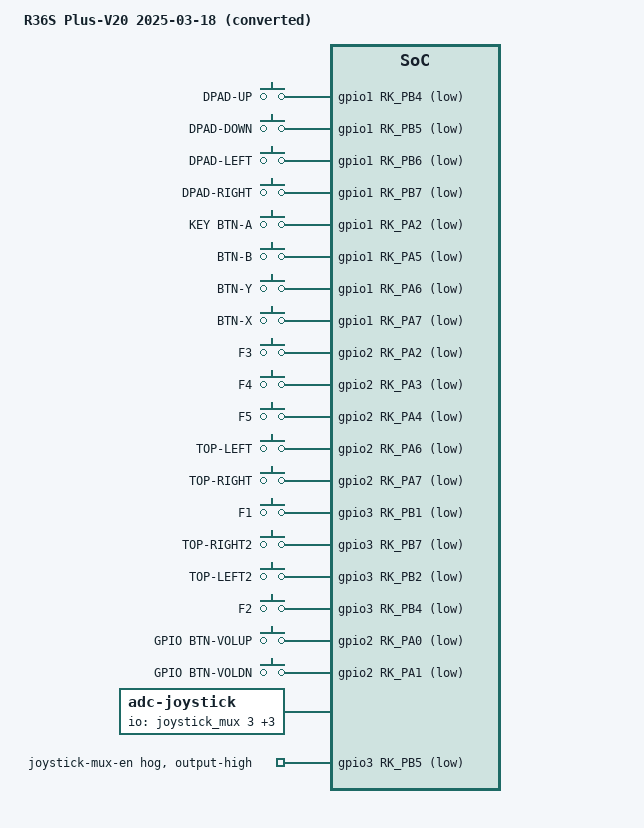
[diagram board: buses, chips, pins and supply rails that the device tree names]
// SPDX-License-Identifier: (GPL-2.0+ OR MIT)
/*
 * R36S Plus-V20 2025-03-18, converted from a vendor RK3326 device tree by
 * `r36os dtb import` (boot-dtb-select D12). Do not edit: import again.
 * Source: darkosre/files/BOOT/dtb/r36s/R36S Plus-V20 2025-03-18/rk3326-r36s-linux.dtb
 * SHA-256: a8b4093dd87639d311e73d97cac5bc08d63cc70f6ac6c0f50e6c08058ad8ddb6
 * Note: sticks: axes from the ROCKNIX joypad mapping, not measured
 * Note: speaker gain: source spk-volume 3 ignored, the native safe value is used
 */

#include "rk3326-r36s-v5.dts"

/ {
	model = "R36S Plus-V20 2025-03-18 (converted)";

	lume-select {
		lume,id = "darkosre-r36s-r36s-plus-v20-2025-03-18";
		lume,priority = <0>;
		/delete-property/ lume,default;
		/delete-property/ lume,panel-id;
	};

	/delete-node/ gpio-keys;
	/delete-node/ volume-keys;

	gpio-keys {
		compatible = "gpio-keys";
		pinctrl-names = "default";
		pinctrl-0 = <&btn_pins>;

		button-dpad-up {
			gpios = <&gpio1 RK_PB4 GPIO_ACTIVE_LOW>;
			label = "DPAD-UP";
			linux,code = <0x220>;
		};

		button-dpad-down {
			gpios = <&gpio1 RK_PB5 GPIO_ACTIVE_LOW>;
			label = "DPAD-DOWN";
			linux,code = <0x221>;
		};

		button-dpad-left {
			gpios = <&gpio1 RK_PB6 GPIO_ACTIVE_LOW>;
			label = "DPAD-LEFT";
			linux,code = <0x222>;
		};

		button-dpad-right {
			gpios = <&gpio1 RK_PB7 GPIO_ACTIVE_LOW>;
			label = "DPAD-RIGHT";
			linux,code = <0x223>;
		};

		button-key-btn-a {
			gpios = <&gpio1 RK_PA2 GPIO_ACTIVE_LOW>;
			label = "KEY BTN-A";
			linux,code = <0x131>;
		};

		button-btn-b {
			gpios = <&gpio1 RK_PA5 GPIO_ACTIVE_LOW>;
			label = "BTN-B";
			linux,code = <0x130>;
		};

		button-btn-y {
			gpios = <&gpio1 RK_PA6 GPIO_ACTIVE_LOW>;
			label = "BTN-Y";
			linux,code = <0x134>;
		};

		button-btn-x {
			gpios = <&gpio1 RK_PA7 GPIO_ACTIVE_LOW>;
			label = "BTN-X";
			linux,code = <0x133>;
		};

		button-f3 {
			gpios = <&gpio2 RK_PA2 GPIO_ACTIVE_LOW>;
			label = "F3";
			linux,code = <0x2c2>;
		};

		button-f4 {
			gpios = <&gpio2 RK_PA3 GPIO_ACTIVE_LOW>;
			label = "F4";
			linux,code = <0x2c3>;
		};

		button-f5 {
			gpios = <&gpio2 RK_PA4 GPIO_ACTIVE_LOW>;
			label = "F5";
			linux,code = <0x2c4>;
		};

		button-top-left {
			gpios = <&gpio2 RK_PA6 GPIO_ACTIVE_LOW>;
			label = "TOP-LEFT";
			linux,code = <0x136>;
		};

		button-top-right {
			gpios = <&gpio2 RK_PA7 GPIO_ACTIVE_LOW>;
			label = "TOP-RIGHT";
			linux,code = <0x137>;
		};

		button-f1 {
			gpios = <&gpio3 RK_PB1 GPIO_ACTIVE_LOW>;
			label = "F1";
			linux,code = <0x2c0>;
		};

		button-top-right2 {
			gpios = <&gpio3 RK_PB7 GPIO_ACTIVE_LOW>;
			label = "TOP-RIGHT2";
			linux,code = <0x139>;
		};

		button-top-left2 {
			gpios = <&gpio3 RK_PB2 GPIO_ACTIVE_LOW>;
			label = "TOP-LEFT2";
			linux,code = <0x138>;
		};

		button-f2 {
			gpios = <&gpio3 RK_PB4 GPIO_ACTIVE_LOW>;
			label = "F2";
			linux,code = <0x2c1>;
		};
	};

	volume-keys {
		compatible = "gpio-keys";
		pinctrl-names = "default";
		pinctrl-0 = <&vol_pins>;
		autorepeat;

		button-gpio-btn-volup {
			gpios = <&gpio2 RK_PA0 GPIO_ACTIVE_LOW>;
			label = "GPIO BTN-VOLUP";
			linux,code = <0x73>;
		};

		button-gpio-btn-voldn {
			gpios = <&gpio2 RK_PA1 GPIO_ACTIVE_LOW>;
			label = "GPIO BTN-VOLDN";
			linux,code = <0x72>;
		};
	};

	/delete-node/ adc-joystick;

	adc-joystick {
		compatible = "adc-joystick";
		io-channels = <&joystick_mux 3>,
			      <&joystick_mux 1>,
			      <&joystick_mux 2>,
			      <&joystick_mux 0>;
		poll-interval = <10>;
		#address-cells = <1>;
		#size-cells = <0>;

		axis@0 {
			reg = <0>;
			abs-flat = <32>;
			abs-fuzz = <32>;
			abs-range = <0 1023>;
			linux,code = <ABS_RY>;
		};

		axis@1 {
			reg = <1>;
			abs-flat = <32>;
			abs-fuzz = <32>;
			abs-range = <0 1023>;
			linux,code = <ABS_RX>;
		};

		axis@2 {
			reg = <2>;
			abs-flat = <32>;
			abs-fuzz = <32>;
			abs-range = <1023 0>;
			linux,code = <ABS_Y>;
		};

		axis@3 {
			reg = <3>;
			abs-flat = <32>;
			abs-fuzz = <32>;
			abs-range = <1023 0>;
			linux,code = <ABS_X>;
		};
	};

	mux-controller {
		mux-gpios = <&gpio3 RK_PB3 GPIO_ACTIVE_LOW>,
			    <&gpio3 RK_PB0 GPIO_ACTIVE_LOW>;
	};

	adc-mux {
		io-channels = <&saradc 1>;
	};

	/delete-node/ gpio-leds;

	rk817-sound {
		simple-audio-card,hp-det-gpios = <&gpio2 RK_PC6 GPIO_ACTIVE_LOW>;
	};
};

&internal_display {
	compatible = "rocknix,generic-dsi";
	/delete-property/ vcc-supply;
	vdd-supply = <&vcc_lcd>;
	reset-gpios = <&gpio3 RK_PC0 GPIO_ACTIVE_LOW>;
	panel_description =
		"G size=153,85 delays=20,20,20,120,20 format=rgb888 lanes=4 flags=0xe03",
		"M clock=36500 horizontal=720,45,4,45 vertical=720,15,3,11 default=1",
		"I seq=11 wait=fa",
		"I seq=b9f11283",
		"I seq=ba338105f90e0e2000000000000000442500900a0000014f01000037",
		"I seq=b82522f063",
		"I seq=bf021100",
		"I seq=b31010282803ff00000000",
		"I seq=c0737350500000127000",
		"I seq=bc46",
		"I seq=cc0b",
		"I seq=b480",
		"I seq=b23c1230",
		"I seq=e307070b0b030b00000000ff00c010",
		"I seq=c13600323277f1cccc77773333",
		"I seq=b50a0a",
		"I seq=b68888",
		"I seq=e9c8100a100fa1801231234786a180470800000d00000000000d00000048028baf4602888888888848138baf5713888888888800000000000000000000000000",
		"I seq=ea9612010101780200000000004f318ba8317588888888884f208ba820648888888888230000010200000000000000000000000000000040a18000000000",
		"I seq=e0000a0f293b3f4239060d10131514151017000a0f293b3f4239060d10131514151017",
		"I seq=29 wait=32";
};

&dsi {
	rockchip,lane-rate = <243>;
};

&backlight {
	pwms = <&pwm1 0 40000 0>;
	/delete-property/ num-interpolated-steps;
	brightness-levels = <0 1 2 3 4 5 6 7 8 9 10 11 12 13 14 15 16 17 18 19 20 21 22 23 24 25 26 27 28 29 30 31 32 33 34 35 36 37 38 39 40 41 42 43 44 45 46 47 48 49 50 51 52 53 54 55 56 57 58 59 60 61 62 63 64 65 66 67 68 69 70 71 72 73 74 75 76 77 78 79 80 81 82 83 84 85 86 87 88 89 90 91 92 93 94 95 96 97 98 99 100 101 102 103 104 105 106 107 108 109 110 111 112 113 114 115 116 117 118 119 120 121 122 123 124 125 126 127 128 129 130 131 132 133 134 135 136 137 138 139 140 141 142 143 144 145 146 147 148 149 150 151 152 153 154 155 156 157 158 159 160>;
	default-brightness-level = <80>;
};

&battery {
	charge-full-design-microamp-hours = <3380000>;
	voltage-max-design-microvolt = <4000000>;
	voltage-min-design-microvolt = <3165000>;
	ocv-capacity-table-0 = <4000000 100>,
				<3995000 95>,
				<3990000 90>,
				<3950000 85>,
				<3910000 80>,
				<3870000 75>,
				<3830000 70>,
				<3790000 65>,
				<3750000 60>,
				<3710000 55>,
				<3670000 50>,
				<3630000 45>,
				<3580000 40>,
				<3530000 35>,
				<3480000 30>,
				<3430000 25>,
				<3380000 20>,
				<3330000 15>,
				<3280000 10>,
				<3220000 5>,
				<3165000 0>;
};

&spk_amp {
	/delete-property/ enable-gpios;
	/delete-property/ pinctrl-names;
	/delete-property/ pinctrl-0;
};

&rk817 {
	interrupt-parent = <&gpio0>;
	interrupts = <RK_PB2 IRQ_TYPE_LEVEL_LOW>;
};

&gpio0 {
	/delete-node/ joystick-mux-en-hog;
};

&gpio1 {
	/delete-node/ lcd-enable-hog;
};

&gpio3 {
	/delete-node/ lcd-stbyb-hog;
	joystick-mux-en-hog {
		gpio-hog;
		gpios = <RK_PB5 GPIO_ACTIVE_LOW>;
		output-high;
		line-name = "joystick-mux-en";
	};
};

&btn_pins {
	rockchip,pins =
		<1 RK_PB4 RK_FUNC_GPIO &pcfg_pull_up>,
		<1 RK_PB5 RK_FUNC_GPIO &pcfg_pull_up>,
		<1 RK_PB6 RK_FUNC_GPIO &pcfg_pull_up>,
		<1 RK_PB7 RK_FUNC_GPIO &pcfg_pull_up>,
		<1 RK_PA2 RK_FUNC_GPIO &pcfg_pull_up>,
		<1 RK_PA5 RK_FUNC_GPIO &pcfg_pull_up>,
		<1 RK_PA6 RK_FUNC_GPIO &pcfg_pull_up>,
		<1 RK_PA7 RK_FUNC_GPIO &pcfg_pull_up>,
		<2 RK_PA2 RK_FUNC_GPIO &pcfg_pull_up>,
		<2 RK_PA3 RK_FUNC_GPIO &pcfg_pull_up>,
		<2 RK_PA4 RK_FUNC_GPIO &pcfg_pull_up>,
		<2 RK_PA6 RK_FUNC_GPIO &pcfg_pull_up>,
		<2 RK_PA7 RK_FUNC_GPIO &pcfg_pull_up>,
		<3 RK_PB1 RK_FUNC_GPIO &pcfg_pull_up>,
		<3 RK_PB7 RK_FUNC_GPIO &pcfg_pull_up>,
		<3 RK_PB2 RK_FUNC_GPIO &pcfg_pull_up>,
		<3 RK_PB4 RK_FUNC_GPIO &pcfg_pull_up>;
};

&vol_pins {
	rockchip,pins =
		<2 RK_PA0 RK_FUNC_GPIO &pcfg_pull_up>,
		<2 RK_PA1 RK_FUNC_GPIO &pcfg_pull_up>;
};

&hp_det {
	rockchip,pins = <2 RK_PC6 RK_FUNC_GPIO &pcfg_pull_none>;
};

&pmic_int {
	rockchip,pins = <0 RK_PB2 RK_FUNC_GPIO &pcfg_pull_up>;
};
